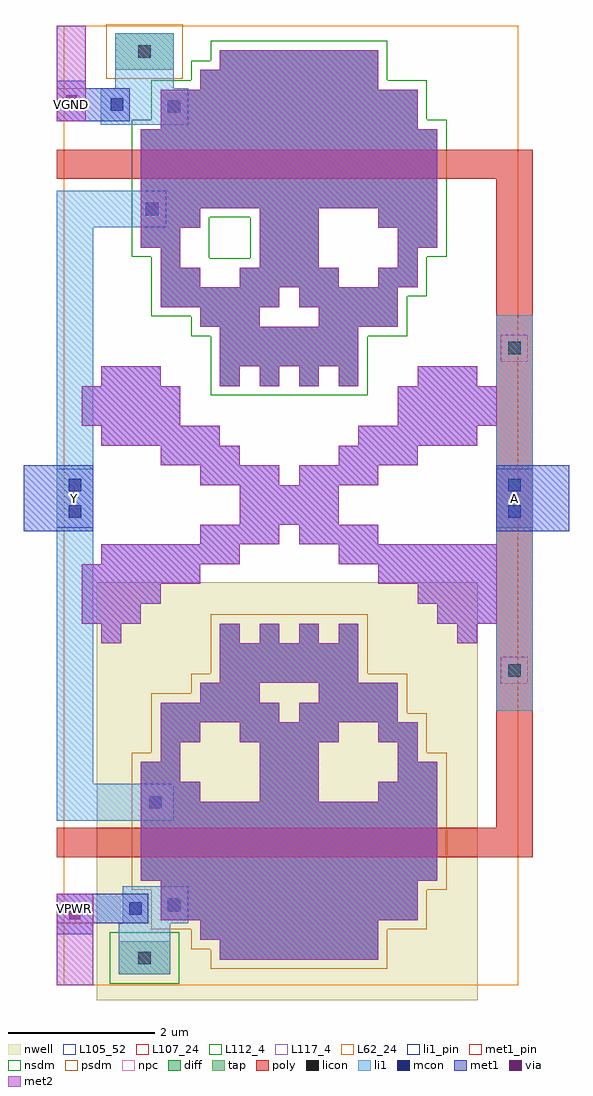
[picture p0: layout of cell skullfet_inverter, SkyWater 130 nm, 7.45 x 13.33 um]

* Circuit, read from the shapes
.subckt skullfet_inverter A VGND VPWR Y
XM1 VGND A Y VGND sky130_fd_pr__nfet_01v8 w=4.05 l=0.4
XM2 Y A VPWR VPWR sky130_fd_pr__pfet_01v8 w=4.05 l=0.4
.ends

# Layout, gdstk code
import gdstk
lib = gdstk.Library(unit=1e-6, precision=1e-09)
def R(c, l, rs):  # rectangles x0, y0, x1, y1
    for r in rs: c.add(gdstk.rectangle(r[:2], r[2:], *l))
def A(c, l, x, y, w, h, nx, ny, dx, dy):  # array of equal rectangles
    R(c, l, [(x+i*dx, y+j*dy, x+i*dx+w, y+j*dy+h) for i in range(nx) for j in range(ny)])
L62_24 = (62, 24)
nwell = (64, 20)
diff = (65, 20)
tap = (65, 44)
poly = (66, 20)
licon = (66, 44)
li1_pin = (67, 16)
li1 = (67, 20)
mcon = (67, 44)
met1_pin = (68, 16)
met1 = (68, 20)
via = (68, 44)
met2 = (69, 20)
nsdm = (93, 44)
psdm = (94, 20)
npc = (95, 20)
L105_52 = (105, 52)
L107_24 = (107, 24)
L112_4 = (112, 4)
L117_4 = (117, 4)

skullfet_inverter = lib.new_cell('skullfet_inverter')
R(skullfet_inverter, L62_24, [(2.6,0.8,8.8,13.9)])
R(skullfet_inverter, nwell, [(3.05,0.6,8.25,6.3)])
A(skullfet_inverter, diff, 4.73, 5.47, 0.27, 0.27, 4, 2, 0.54, 3.51)
R(skullfet_inverter, diff, [(4.73,1.15,6.89,1.42), (4.46,1.42,6.89,1.69), (3.92,1.69,7.43,2.23), (3.65,2.23,7.7,3.31), (3.65,3.31,4.46,3.58), (5.27,3.31,6.08,4.12), (6.89,3.31,7.7,3.58), (3.65,3.58,4.19,3.85), (7.16,3.58,7.7,3.85), (3.92,3.85,4.19,4.12), (7.16,3.85,7.43,4.12), (3.92,4.12,4.46,4.39), (5,4.12,6.35,4.39), (6.89,4.12,7.43,4.39), (3.92,4.39,5.54,4.66), (5.81,4.39,7.16,4.66), (4.46,4.66,5.27,4.93), (6.08,4.66,7.16,4.93), (4.73,4.93,6.62,5.47), (4.73,9.25,6.62,9.79), (4.46,9.79,5.27,10.06), (6.08,9.79,7.16,10.06), (3.92,10.06,5.54,10.33), (5.81,10.06,7.16,10.33), (3.92,10.33,4.46,10.6), (5,10.33,6.35,10.6), (6.89,10.33,7.43,10.6), (3.92,10.6,4.19,10.87), (5.27,10.6,6.08,11.41), (7.16,10.6,7.43,10.87), (3.65,10.87,4.19,11.14), (7.16,10.87,7.7,11.14), (3.65,11.14,4.46,11.41), (6.89,11.14,7.7,11.41), (3.65,11.41,7.7,12.49), (3.92,12.49,7.43,13.03), (4.46,13.03,6.89,13.3), (4.73,13.3,6.89,13.57)])
R(skullfet_inverter, tap, [(3.35,0.95,4.05,1.4), (3.3,13.3,4.1,13.8)])
R(skullfet_inverter, poly, [(2.5,2.55,9,2.95), (8.5,2.95,9,11.81), (2.5,11.81,9,12.21)])
R(skullfet_inverter, licon, [(3.615,1.09,3.785,1.26), (4.015,1.815,4.185,1.985), (3.765,3.215,3.935,3.385), (8.665,5.015,8.835,5.185), (8.665,9.415,8.835,9.585), (3.715,11.315,3.885,11.485), (4.015,12.715,4.185,12.885), (3.615,13.465,3.785,13.635)])
R(skullfet_inverter, li1_pin, [(2.5,7.05,3,7.85), (8.5,7.05,9,7.85)])
R(skullfet_inverter, li1, [(3.35,0.95,4.05,1.65), (3.4,1.65,4.3,2.15), (2.5,3.05,4.1,3.55), (2.5,3.55,3,11.15), (8.5,4.55,9,9.95), (2.5,11.15,4,11.65), (3.1,12.55,4.3,13.05), (3.3,13.05,4.1,13.8)])
R(skullfet_inverter, mcon, [(3.49,1.765,3.66,1.935), (2.665,7.185,2.835,7.355), (8.665,7.185,8.835,7.355), (2.665,7.545,2.835,7.715), (8.665,7.545,8.835,7.715), (3.24,12.74,3.41,12.91)])
R(skullfet_inverter, met1_pin, [(2.5,1.65,3,2.05), (2.5,12.6,2.9,13.05)])
A(skullfet_inverter, met1, 4.73, 5.47, 0.27, 0.27, 4, 2, 0.54, 3.51)
R(skullfet_inverter, met1, [(4.73,1.15,6.89,1.42), (4.46,1.42,6.89,1.69), (2.5,1.5,3,1.65), (2.5,1.65,3.75,2.05), (3.92,1.69,7.43,2.23), (3.65,2.23,7.7,3.31), (3.65,3.31,4.46,3.58), (5.27,3.31,6.08,4.12), (6.89,3.31,7.7,3.58), (3.65,3.58,4.19,3.85), (7.16,3.58,7.7,3.85), (3.92,3.85,4.19,4.12), (7.16,3.85,7.43,4.12), (3.92,4.12,4.46,4.39), (5,4.12,6.35,4.39), (6.89,4.12,7.43,4.39), (3.92,4.39,5.54,4.66), (5.81,4.39,7.16,4.66), (4.46,4.66,5.27,4.93), (6.08,4.66,7.16,4.93), (4.73,4.93,6.62,5.47), (3.11,5.47,3.38,5.74), (7.97,5.47,8.24,5.74), (2.84,5.74,3.65,6.01), (7.7,5.74,8.51,6.01), (2.84,6.01,3.92,6.28), (7.43,6.01,8.51,6.28), (2.84,6.28,4.46,6.55), (6.89,6.28,8.51,6.55), (3.11,6.55,5,6.82), (6.35,6.55,8.51,6.82), (4.46,6.82,5.54,7.09), (5.81,6.82,6.89,7.09), (2.05,7,3,7.9), (8.5,7,9.5,7.9), (5,7.09,6.35,7.63), (4.46,7.63,5.54,7.9), (5.81,7.63,6.89,7.9), (3.92,7.9,5,8.17), (6.35,7.9,7.43,8.17), (3.11,8.17,4.73,8.44), (6.62,8.17,8.24,8.44), (2.84,8.44,4.19,8.98), (7.16,8.44,8.51,8.98), (3.11,8.98,3.92,9.25), (7.43,8.98,8.24,9.25), (4.73,9.25,6.62,9.79), (4.46,9.79,5.27,10.06), (6.08,9.79,7.16,10.06), (3.92,10.06,5.54,10.33), (5.81,10.06,7.16,10.33), (3.92,10.33,4.46,10.6), (5,10.33,6.35,10.6), (6.89,10.33,7.43,10.6), (3.92,10.6,4.19,10.87), (5.27,10.6,6.08,11.41), (7.16,10.6,7.43,10.87), (3.65,10.87,4.19,11.14), (7.16,10.87,7.7,11.14), (3.65,11.14,4.46,11.41), (6.89,11.14,7.7,11.41), (3.65,11.41,7.7,12.49), (3.92,12.49,7.43,13.03), (2.5,12.6,3.5,13.05), (4.46,13.03,6.89,13.3), (2.5,13.05,2.9,13.15), (4.73,13.3,6.89,13.57)])
R(skullfet_inverter, via, [(2.675,1.7,2.825,1.85), (2.625,12.8,2.775,12.95)])
A(skullfet_inverter, met2, 4.73, 5.47, 0.27, 0.27, 4, 2, 0.54, 3.51)
R(skullfet_inverter, met2, [(2.5,0.8,3,2.05), (4.73,1.15,6.89,1.42), (4.46,1.42,6.89,1.69), (3.92,1.69,7.43,2.23), (3.65,2.23,7.7,3.31), (3.65,3.31,4.46,3.58), (5.27,3.31,6.08,4.12), (6.89,3.31,7.7,3.58), (3.65,3.58,4.19,3.85), (7.16,3.58,7.7,3.85), (3.92,3.85,4.19,4.12), (7.16,3.85,7.43,4.12), (3.92,4.12,4.46,4.39), (5,4.12,6.35,4.39), (6.89,4.12,7.43,4.39), (3.92,4.39,5.54,4.66), (5.81,4.39,7.16,4.66), (4.46,4.66,5.27,4.93), (6.08,4.66,7.16,4.93), (4.73,4.93,6.62,5.47), (3.11,5.47,3.38,5.74), (7.97,5.47,8.24,5.74), (2.84,5.74,3.65,6.01), (7.7,5.74,8.51,6.01), (2.84,6.01,3.92,6.28), (7.43,6.01,8.51,6.28), (2.84,6.28,4.46,6.55), (6.89,6.28,8.51,6.55), (3.11,6.55,5,6.82), (6.35,6.55,8.51,6.82), (4.46,6.82,5.54,7.09), (5.81,6.82,6.89,7.09), (5,7.09,6.35,7.63), (4.46,7.63,5.54,7.9), (5.81,7.63,6.89,7.9), (3.92,7.9,5,8.17), (6.35,7.9,7.43,8.17), (3.11,8.17,4.73,8.44), (6.62,8.17,8.24,8.44), (2.84,8.44,4.19,8.98), (7.16,8.44,8.51,8.98), (3.11,8.98,3.92,9.25), (7.43,8.98,8.24,9.25), (4.73,9.25,6.62,9.79), (4.46,9.79,5.27,10.06), (6.08,9.79,7.16,10.06), (3.92,10.06,5.54,10.33), (5.81,10.06,7.16,10.33), (3.92,10.33,4.46,10.6), (5,10.33,6.35,10.6), (6.89,10.33,7.43,10.6), (3.92,10.6,4.19,10.87), (5.27,10.6,6.08,11.41), (7.16,10.6,7.43,10.87), (3.65,10.87,4.19,11.14), (7.16,10.87,7.7,11.14), (3.65,11.14,4.46,11.41), (6.89,11.14,7.7,11.41), (3.65,11.41,7.7,12.49), (3.92,12.49,7.43,13.03), (2.5,12.6,2.9,13.9), (4.46,13.03,6.89,13.3), (4.73,13.3,6.89,13.57)])
R(skullfet_inverter, nsdm, [(3.225,0.825,4.175,1.525), (4.605,8.855,6.745,9.665), (4.335,9.665,7.285,9.935), (3.795,9.935,7.285,10.205), (3.795,10.205,7.555,10.725), (3.795,10.725,4.585,10.745), (5.145,10.725,7.555,10.745), (3.525,10.745,4.585,11.285), (5.145,10.745,7.825,11.285), (3.525,11.285,7.825,12.615), (3.795,12.615,7.555,13.155), (4.335,13.155,7.015,13.425), (4.605,13.425,7.015,13.695)])
R(skullfet_inverter, psdm, [(4.605,1.025,7.015,1.295), (4.335,1.295,7.015,1.565), (3.795,1.565,7.555,2.105), (3.525,2.105,7.825,3.975), (3.795,3.975,7.555,4.515), (3.795,4.515,7.285,4.785), (4.335,4.785,7.285,5.055), (4.605,5.055,6.745,5.865), (3.175,13.175,4.225,13.925)])
R(skullfet_inverter, npc, [(8.565,4.915,8.935,5.285), (8.565,9.315,8.935,9.685)])
R(skullfet_inverter, L105_52, [(2.6,0.8,8.8,13.9)])
R(skullfet_inverter, L107_24, [(2.6,0.8,8.8,13.9)])
R(skullfet_inverter, L112_4, [(2.6,0.8,8.8,13.9)])
R(skullfet_inverter, L117_4, [(2.6,0.8,8.8,13.9)])
skullfet_inverter.add(gdstk.Label('VGND', (2.7,12.825), layer=68, texttype=5))
skullfet_inverter.add(gdstk.Label('VPWR', (2.75,1.85), layer=68, texttype=5))
skullfet_inverter.add(gdstk.Label('Y', (2.75,7.45), layer=67, texttype=5))
skullfet_inverter.add(gdstk.Label('A', (8.75,7.45), layer=67, texttype=5))

lib.write_gds('skullfet_inverter.gds')
